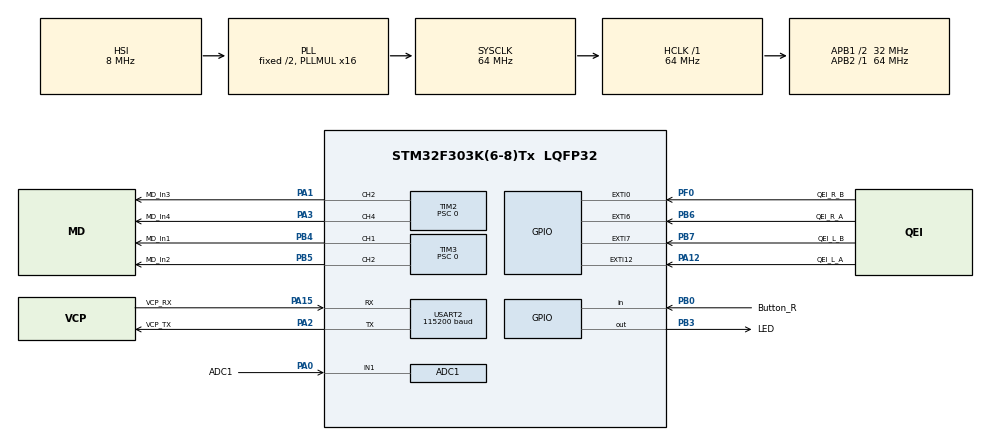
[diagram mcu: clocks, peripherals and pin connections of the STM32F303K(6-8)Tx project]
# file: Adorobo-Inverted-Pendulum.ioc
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ADC1.Channel-0\#ChannelRegularConversion=ADC_CHANNEL_1
ADC1.NbrOfConversionFlag=1
ADC1.Offset-0\#ChannelRegularConversion=0
ADC1.OffsetNumber-0\#ChannelRegularConversion=ADC_OFFSET_NONE
ADC1.Rank-0\#ChannelRegularConversion=1
ADC1.Resolution=ADC_RESOLUTION_12B
ADC1.SamplingTime-0\#ChannelRegularConversion=ADC_SAMPLETIME_61CYCLES_5
ADC1.SamplingTimeOPAMP-0\#ChannelRegularConversion=ADC_SAMPLETIME_61CYCLES_5
ADC1.SubFamily=STM32F303x8
ADC1.master=1
Dma.Request0=USART2_RX
Dma.Request1=USART2_TX
Dma.USART2_RX.0.Direction=DMA_PERIPH_TO_MEMORY
Dma.USART2_RX.0.Instance=DMA1_Channel6
Dma.USART2_RX.0.MemDataAlignment=DMA_MDATAALIGN_BYTE
Dma.USART2_RX.0.MemInc=DMA_MINC_ENABLE
Dma.USART2_RX.0.Mode=DMA_NORMAL
Dma.USART2_RX.0.PeriphDataAlignment=DMA_PDATAALIGN_BYTE
Dma.USART2_RX.0.PeriphInc=DMA_PINC_DISABLE
Dma.USART2_RX.0.Priority=DMA_PRIORITY_LOW
Dma.USART2_TX.1.Direction=DMA_MEMORY_TO_PERIPH
Dma.USART2_TX.1.Instance=DMA1_Channel7
Dma.USART2_TX.1.MemDataAlignment=DMA_MDATAALIGN_BYTE
Dma.USART2_TX.1.MemInc=DMA_MINC_ENABLE
Dma.USART2_TX.1.Mode=DMA_NORMAL
Dma.USART2_TX.1.PeriphDataAlignment=DMA_PDATAALIGN_BYTE
Dma.USART2_TX.1.PeriphInc=DMA_PINC_DISABLE
Dma.USART2_TX.1.Priority=DMA_PRIORITY_LOW
Mcu.Family=STM32F3
Mcu.Name=STM32F303K(6-8)Tx
Mcu.Package=LQFP32
NVIC.DMA1_Channel6_IRQn=true\:0\:0\:false\:false\:true\:false\:true\:true
NVIC.DMA1_Channel7_IRQn=true\:0\:0\:false\:false\:true\:false\:true\:true
NVIC.EXTI0_IRQn=true\:0\:0\:true\:false\:true\:true\:true\:true
NVIC.EXTI15_10_IRQn=true\:0\:0\:true\:false\:true\:true\:true\:true
NVIC.EXTI9_5_IRQn=true\:0\:0\:true\:false\:true\:true\:true\:true
NVIC.PriorityGroup=NVIC_PRIORITYGROUP_4
NVIC.TIM6_DAC1_IRQn=true\:0\:0\:false\:false\:true\:true\:true\:true
NVIC.USART2_IRQn=true\:0\:0\:false\:false\:true\:true\:true\:true
PA0.GPIO_Label=ADC1
PA0.Mode=IN1-Single-Ended
PA0.Signal=ADC1_IN1
PA1.GPIO_Label=MD_In3
PA1.Signal=S_TIM2_CH2
PA12.GPIO_Label=QEI_L_A
PA12.GPIO_ModeDefaultEXTI=GPIO_MODE_IT_RISING_FALLING
PA12.GPIO_PuPd=GPIO_PULLUP
PA12.Signal=GPXTI12
PA13.GPIO_Label=SWDIO
PA13.Mode=Serial_Wire
PA13.Signal=SYS_JTMS-SWDIO
PA14.GPIO_Label=SWCLK
PA14.Mode=Serial_Wire
PA14.Signal=SYS_JTCK-SWCLK
PA15.GPIO_Label=VCP_RX
PA15.Mode=Asynchronous
PA15.Signal=USART2_RX
PA2.GPIO_Label=VCP_TX
PA2.Mode=Asynchronous
PA2.Signal=USART2_TX
PA3.GPIO_Label=MD_In4
PA3.Signal=S_TIM2_CH4
PB0.GPIO_Label=Button_R
PB0.GPIO_PuPd=GPIO_PULLUP
PB0.Signal=GPIO_Input
PB3.GPIO_Label=LED
PB3.Signal=GPIO_Output
PB4.GPIO_Label=MD_In1
PB4.Signal=S_TIM3_CH1
PB5.GPIO_Label=MD_In2
PB5.Signal=S_TIM3_CH2
PB6.GPIO_Label=QEI_R_A
PB6.GPIO_ModeDefaultEXTI=GPIO_MODE_IT_RISING_FALLING
PB6.GPIO_PuPd=GPIO_PULLUP
PB6.Signal=GPXTI6
PB7.GPIO_Label=QEI_L_B
PB7.GPIO_ModeDefaultEXTI=GPIO_MODE_IT_RISING_FALLING
PB7.GPIO_PuPd=GPIO_PULLUP
PB7.Signal=GPXTI7
PF0\ /\ OSC_IN.GPIO_Label=QEI_R_B
PF0\ /\ OSC_IN.GPIO_ModeDefaultEXTI=GPIO_MODE_IT_RISING_FALLING
PF0\ /\ OSC_IN.GPIO_PuPd=GPIO_PULLUP
PF0\ /\ OSC_IN.Signal=GPXTI0
ProjectManager.HeapSize=0x200
ProjectManager.StackSize=0x400
ProjectManager.TargetToolchain=STM32CubeIDE
RCC.AHBFreq_Value=64000000
RCC.APB1CLKDivider=RCC_HCLK_DIV2
RCC.APB1Freq_Value=32000000
RCC.APB1TimFreq_Value=64000000
RCC.APB2Freq_Value=64000000
RCC.APB2TimFreq_Value=64000000
RCC.CortexFreq_Value=64000000
RCC.HCLKFreq_Value=64000000
RCC.HSE_VALUE=8000000
RCC.HSI_VALUE=8000000
RCC.PLLMUL=RCC_PLL_MUL16
RCC.SYSCLKFreq_VALUE=64000000
RCC.SYSCLKSourceVirtual=RCC_SYSCLKSOURCE_PLLCLK
SH.S_TIM2_CH2.0=TIM2_CH2,PWM Generation2 CH2
SH.S_TIM2_CH4.0=TIM2_CH4,PWM Generation4 CH4
SH.S_TIM3_CH1.0=TIM3_CH1,PWM Generation1 CH1
SH.S_TIM3_CH2.0=TIM3_CH2,PWM Generation2 CH2
TIM2.AutoReloadPreload=TIM_AUTORELOAD_PRELOAD_DISABLE
TIM2.Channel-PWM\ Generation2\ CH2=TIM_CHANNEL_2
TIM2.Channel-PWM\ Generation4\ CH4=TIM_CHANNEL_4
TIM2.Period=6399
TIM2.Prescaler=0
TIM3.AutoReloadPreload=TIM_AUTORELOAD_PRELOAD_DISABLE
TIM3.Channel-PWM\ Generation1\ CH1=TIM_CHANNEL_1
TIM3.Channel-PWM\ Generation2\ CH2=TIM_CHANNEL_2
TIM3.Period=6399
TIM3.Prescaler=0
TIM6.Period=63999
TIM6.Prescaler=0
USART2.BaudRate=115200
USART2.VirtualMode-Asynchronous=VM_ASYNC
VP_TIM2_VS_ClockSourceINT.Mode=Internal
VP_TIM3_VS_ClockSourceINT.Mode=Internal
VP_TIM6_VS_ClockSourceINT.Mode=Enable_Timer
board=NUCLEO-F303K8

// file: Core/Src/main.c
/* USER CODE BEGIN Header */
/**
 ******************************************************************************
 * @file           : main.c
 * @brief          : Main program body
 ******************************************************************************
 * @attention
 *
 * Copyright (c) 2025 STMicroelectronics.
 * All rights reserved.
 *
 * This software is licensed under terms that can be found in the LICENSE file
 * in the root directory of this software component.
 * If no LICENSE file comes with this software, it is provided AS-IS.
 *
 ******************************************************************************
 */
/* USER CODE END Header */
#include "main.h"

/* USER CODE BEGIN Includes */
#include <stdio.h>
#include <stdbool.h>

#include "qei.h"
#include "state_feedback_controller.h"
/* USER CODE END Includes */

/* USER CODE BEGIN PM */
#define PI 3.141592

#define PRESCALER (6399 - 1)

#define ADV_TO_RAD 0.00096633 // (333.3 * ((2.0*pi)/360.0)) / 4.85 * 3.3 / (2^12)
#define MAX_V 7.2
//#define GEAR_RATIO 6.67
//#define ENC_PULSE 12
//#define WHEEL_R 0.0255
#define PULSE_TO_METER 0.0005

// PID
#define DT (1.0 / 1000.0)
//#define KP 50
//#define KD 5
//#define KI 10
/* USER CODE END PM */

ADC_HandleTypeDef hadc1;

TIM_HandleTypeDef htim2;
TIM_HandleTypeDef htim3;
TIM_HandleTypeDef htim6;

UART_HandleTypeDef huart2;
DMA_HandleTypeDef hdma_usart2_rx;
DMA_HandleTypeDef hdma_usart2_tx;

/* USER CODE BEGIN PV */
bool start = false;

uint16_t ad;
uint16_t zero_ad;
float theta = 0, theta_pre = 0, dtheta = 0;
float x = 0, x_pre = 0, dx = 0;
float e = 0, ed = 0, ei = 0, e_pre = 0;                                 //振子の角度
float v_ref = 0, duty_ratio = 0;                       //電圧指令値　，　デューティー比

QEI_HandleTypeDef hqei_left, hqei_right;

int enc_left = 0, enc_right = 0;

uint8_t uart_tx[10];
uint8_t uart_rx[8];
//double gain_k[4] = {1.0000, 0.4757, 254.4060, 59.5530};
/* USER CODE END PV */

void SystemClock_Config(void);
static void MX_GPIO_Init(void);
static void MX_DMA_Init(void);
static void MX_USART2_UART_Init(void);
static void MX_TIM2_Init(void);
static void MX_TIM3_Init(void);
static void MX_TIM6_Init(void);
static void MX_ADC1_Init(void);

/* USER CODE BEGIN 0 */
int _write(int file, char *ptr, int len) {
	HAL_UART_Transmit(&huart2, (uint8_t*) ptr, len, 10);
	return len;
}

void MoveRightMotor(const float v) {
	float s = v;
	s = s > 1.0 ? 1.0 : s;
	s = s < -1.0 ? -1.0 : s;

	if (s > 0) {
		__HAL_TIM_SET_COMPARE(&htim3, TIM_CHANNEL_1, 0); // 右側 反転
		__HAL_TIM_SET_COMPARE(&htim3, TIM_CHANNEL_2, s * PRESCALER); // 右側 正転
	} else if (s < 0) {
		__HAL_TIM_SET_COMPARE(&htim3, TIM_CHANNEL_1, - s * PRESCALER); // 右側 反転
		__HAL_TIM_SET_COMPARE(&htim3, TIM_CHANNEL_2, 0); // 右側 正転
	} else {
		__HAL_TIM_SET_COMPARE(&htim3, TIM_CHANNEL_1, 0); // 右側 反転
		__HAL_TIM_SET_COMPARE(&htim3, TIM_CHANNEL_2, 0); // 右側 正転
	}
}

void MoveLeftMotor(const float v) {
	float s = v;
	s = s > 1.0 ? 1.0 : s;
	s = s < -1.0 ? -1.0 : s;

	if (s > 0) {
		__HAL_TIM_SET_COMPARE(&htim2, TIM_CHANNEL_2, s * PRESCALER); // 左側 正転
		__HAL_TIM_SET_COMPARE(&htim2, TIM_CHANNEL_4, 0); // 左側 反転
	} else if (s < 0) {
		__HAL_TIM_SET_COMPARE(&htim2, TIM_CHANNEL_2, 0); // 左側 正転
		__HAL_TIM_SET_COMPARE(&htim2, TIM_CHANNEL_4, - s * PRESCALER); // 左側 反転
	} else {
		__HAL_TIM_SET_COMPARE(&htim2, TIM_CHANNEL_2, 0); // 左側 正転
		__HAL_TIM_SET_COMPARE(&htim2, TIM_CHANNEL_4, 0); // 左側 反転
	}
}

void HAL_GPIO_EXTI_Callback(uint16_t GPIO_Pin) {
	if (GPIO_Pin == QEI_L_A_Pin || GPIO_Pin == QEI_L_B_Pin) {
		QEI_Encode(&hqei_left);
	}
	if (GPIO_Pin == QEI_R_A_Pin || GPIO_Pin == QEI_R_B_Pin) {
		QEI_Encode(&hqei_right);
	}
}

//void HAL_UART_TxCpltCallback(UART_HandleTypeDef *huart) {
//	if (huart->Instance == USART2) {
//		huart2.gState = HAL_UART_STATE_READY;
//	}
//}
//
//void HAL_UART_RxCpltCallback(UART_HandleTypeDef *huart) {
//	if (huart->Instance == USART2) {
//		double rx_data = *((double*) uart_rx);
//		duty_ratio = rx_data;
//		HAL_UART_Receive_DMA(&huart2, uart_rx, 8);
//	}
//}

void HAL_TIM_PeriodElapsedCallback(TIM_HandleTypeDef *htim) {
	if (htim == &htim6) {
		if (start) {
			HAL_ADC_Start(&hadc1);
			if (HAL_ADC_PollForConversion(&hadc1, 10) == HAL_OK) {
				ad = HAL_ADC_GetValue(&hadc1); // 10bit
			}
			HAL_ADC_Stop(&hadc1);

			enc_left += -QEI_GetPulses(&hqei_left);
			QEI_Reset(&hqei_left);
			enc_right += QEI_GetPulses(&hqei_right);
			QEI_Reset(&hqei_right);

			theta = -(float) (ad - zero_ad) * ADV_TO_RAD; // nop version
			dtheta = (theta - theta_pre) / DT;
			theta_pre = theta;

			x = ((float) (enc_left + enc_right) / 2) * PULSE_TO_METER;
			dx = (x - x_pre) / DT;
			x_pre = x;
//			printf("Pos: %f, Theta: %f\n", x, theta);

			real_T arg_y[2] = { x, theta };
			real_T arg_u = state_feedback_controller_step(arg_y);
//			float arg_u = -1.0000*x -40.8844*dx -148.5435*theta -16.9324*dtheta;
			duty_ratio = arg_u / MAX_V;

			duty_ratio = duty_ratio > 0.0 && duty_ratio < 0.6 ? 0.6 : duty_ratio;
			duty_ratio = duty_ratio < 0.0 && duty_ratio > -0.6 ? -0.6 : duty_ratio;

//			printf("%f\n", duty_ratio);

//			if (huart2.gState == HAL_UART_STATE_READY) {
//				float tx_data[2] = { x, theta };
//				uart_tx[0] = 0x90;
//				uart_tx[1] = 0x86;
//				for (int i = 0; i < 8; i++) {
//					uart_tx[i + 2] = ((uint8_t*) (&tx_data))[i];
//				}
//				HAL_UART_Transmit_DMA(&huart2, uart_tx, 10);
//			}

			MoveRightMotor(duty_ratio);
			MoveLeftMotor(duty_ratio);
		}
	}
}
/* USER CODE END 0 */

int main(void)
{

  /* USER CODE BEGIN 1 */
	setbuf(stdout, NULL);
  /* USER CODE END 1 */

  /* MCU Configuration--------------------------------------------------------*/

  /* Reset of all peripherals, Initializes the Flash interface and the Systick. */
  HAL_Init();

  /* Configure the system clock */
  SystemClock_Config();

  /* Initialize all configured peripherals */
  MX_GPIO_Init();
  MX_DMA_Init();
  MX_USART2_UART_Init();
  MX_TIM2_Init();
  MX_TIM3_Init();
  MX_TIM6_Init();
  MX_ADC1_Init();
  /* USER CODE BEGIN 2 */

	HAL_TIM_Base_Start_IT(&htim6);

	QEI_Init(&hqei_left,
	QEI_L_A_GPIO_Port, QEI_L_A_Pin,
	QEI_L_B_GPIO_Port, QEI_L_B_Pin, 48, QEI_X4_ENCODING);
	QEI_Init(&hqei_right,
	QEI_R_A_GPIO_Port, QEI_R_A_Pin,
	QEI_R_B_GPIO_Port, QEI_R_B_Pin, 48, QEI_X4_ENCODING);

	state_feedback_controller_initialize();
	HAL_UART_Receive_DMA(&huart2, uart_rx, 8);
  /* USER CODE END 2 */

  /* Infinite loop */
  /* USER CODE BEGIN WHILE */
	while (1) {
		HAL_GPIO_TogglePin(LED_GPIO_Port, LED_Pin);

		if (!start
				&& HAL_GPIO_ReadPin(Button_R_GPIO_Port, Button_R_Pin)
						== GPIO_PIN_RESET) {
			for (int i = 0; i < 10; i++) {
				HAL_ADC_Start(&hadc1);
				if (HAL_ADC_PollForConversion(&hadc1, 10) == HAL_OK) {
					zero_ad = HAL_ADC_GetValue(&hadc1); // 10bit
				}
				HAL_ADC_Stop(&hadc1);
			}
			start = true;
		}

		HAL_Delay(100);
    /* USER CODE END WHILE */

	}
}

void SystemClock_Config(void)
{
  RCC_OscInitTypeDef RCC_OscInitStruct = {0};
  RCC_ClkInitTypeDef RCC_ClkInitStruct = {0};
  RCC_PeriphCLKInitTypeDef PeriphClkInit = {0};

  /** Initializes the RCC Oscillators according to the specified parameters
  * in the RCC_OscInitTypeDef structure.
  */
  RCC_OscInitStruct.OscillatorType = RCC_OSCILLATORTYPE_HSI;
  RCC_OscInitStruct.HSIState = RCC_HSI_ON;
  RCC_OscInitStruct.HSICalibrationValue = RCC_HSICALIBRATION_DEFAULT;
  RCC_OscInitStruct.PLL.PLLState = RCC_PLL_ON;
  RCC_OscInitStruct.PLL.PLLSource = RCC_PLLSOURCE_HSI;
  RCC_OscInitStruct.PLL.PLLMUL = RCC_PLL_MUL16;
  if (HAL_RCC_OscConfig(&RCC_OscInitStruct) != HAL_OK)
  {
    Error_Handler();
  }

  /** Initializes the CPU, AHB and APB buses clocks
  */
  RCC_ClkInitStruct.ClockType = RCC_CLOCKTYPE_HCLK|RCC_CLOCKTYPE_SYSCLK
                              |RCC_CLOCKTYPE_PCLK1|RCC_CLOCKTYPE_PCLK2;
  RCC_ClkInitStruct.SYSCLKSource = RCC_SYSCLKSOURCE_PLLCLK;
  RCC_ClkInitStruct.AHBCLKDivider = RCC_SYSCLK_DIV1;
  RCC_ClkInitStruct.APB1CLKDivider = RCC_HCLK_DIV2;
  RCC_ClkInitStruct.APB2CLKDivider = RCC_HCLK_DIV1;

  if (HAL_RCC_ClockConfig(&RCC_ClkInitStruct, FLASH_LATENCY_2) != HAL_OK)
  {
    Error_Handler();
  }
  PeriphClkInit.PeriphClockSelection = RCC_PERIPHCLK_ADC12;
  PeriphClkInit.Adc12ClockSelection = RCC_ADC12PLLCLK_DIV1;
  if (HAL_RCCEx_PeriphCLKConfig(&PeriphClkInit) != HAL_OK)
  {
    Error_Handler();
  }
}

static void MX_ADC1_Init(void)
{

  ADC_MultiModeTypeDef multimode = {0};
  ADC_ChannelConfTypeDef sConfig = {0};

  /** Common config
  */
  hadc1.Instance = ADC1;
  hadc1.Init.ClockPrescaler = ADC_CLOCK_ASYNC_DIV1;
  hadc1.Init.Resolution = ADC_RESOLUTION_12B;
  hadc1.Init.ScanConvMode = ADC_SCAN_DISABLE;
  hadc1.Init.ContinuousConvMode = DISABLE;
  hadc1.Init.DiscontinuousConvMode = DISABLE;
  hadc1.Init.ExternalTrigConvEdge = ADC_EXTERNALTRIGCONVEDGE_NONE;
  hadc1.Init.ExternalTrigConv = ADC_SOFTWARE_START;
  hadc1.Init.DataAlign = ADC_DATAALIGN_RIGHT;
  hadc1.Init.NbrOfConversion = 1;
  hadc1.Init.DMAContinuousRequests = DISABLE;
  hadc1.Init.EOCSelection = ADC_EOC_SINGLE_CONV;
  hadc1.Init.LowPowerAutoWait = DISABLE;
  hadc1.Init.Overrun = ADC_OVR_DATA_OVERWRITTEN;
  if (HAL_ADC_Init(&hadc1) != HAL_OK)
  {
    Error_Handler();
  }

  /** Configure the ADC multi-mode
  */
  multimode.Mode = ADC_MODE_INDEPENDENT;
  if (HAL_ADCEx_MultiModeConfigChannel(&hadc1, &multimode) != HAL_OK)
  {
    Error_Handler();
  }

  /** Configure Regular Channel
  */
  sConfig.Channel = ADC_CHANNEL_1;
  sConfig.Rank = ADC_REGULAR_RANK_1;
  sConfig.SingleDiff = ADC_SINGLE_ENDED;
  sConfig.SamplingTime = ADC_SAMPLETIME_61CYCLES_5;
  sConfig.OffsetNumber = ADC_OFFSET_NONE;
  sConfig.Offset = 0;
  if (HAL_ADC_ConfigChannel(&hadc1, &sConfig) != HAL_OK)
  {
    Error_Handler();
  }

}

static void MX_TIM2_Init(void)
{

  TIM_ClockConfigTypeDef sClockSourceConfig = {0};
  TIM_MasterConfigTypeDef sMasterConfig = {0};
  TIM_OC_InitTypeDef sConfigOC = {0};

  htim2.Instance = TIM2;
  htim2.Init.Prescaler = 0;
  htim2.Init.CounterMode = TIM_COUNTERMODE_UP;
  htim2.Init.Period = 6399;
  htim2.Init.ClockDivision = TIM_CLOCKDIVISION_DIV1;
  htim2.Init.AutoReloadPreload = TIM_AUTORELOAD_PRELOAD_DISABLE;
  if (HAL_TIM_Base_Init(&htim2) != HAL_OK)
  {
    Error_Handler();
  }
  sClockSourceConfig.ClockSource = TIM_CLOCKSOURCE_INTERNAL;
  if (HAL_TIM_ConfigClockSource(&htim2, &sClockSourceConfig) != HAL_OK)
  {
    Error_Handler();
  }
  if (HAL_TIM_PWM_Init(&htim2) != HAL_OK)
  {
    Error_Handler();
  }
  sMasterConfig.MasterOutputTrigger = TIM_TRGO_RESET;
  sMasterConfig.MasterSlaveMode = TIM_MASTERSLAVEMODE_DISABLE;
  if (HAL_TIMEx_MasterConfigSynchronization(&htim2, &sMasterConfig) != HAL_OK)
  {
    Error_Handler();
  }
  sConfigOC.OCMode = TIM_OCMODE_PWM1;
  sConfigOC.Pulse = 0;
  sConfigOC.OCPolarity = TIM_OCPOLARITY_HIGH;
  sConfigOC.OCFastMode = TIM_OCFAST_DISABLE;
  if (HAL_TIM_PWM_ConfigChannel(&htim2, &sConfigOC, TIM_CHANNEL_2) != HAL_OK)
  {
    Error_Handler();
  }
  if (HAL_TIM_PWM_ConfigChannel(&htim2, &sConfigOC, TIM_CHANNEL_4) != HAL_OK)
  {
    Error_Handler();
  }
  HAL_TIM_MspPostInit(&htim2);

}

static void MX_TIM3_Init(void)
{

  TIM_ClockConfigTypeDef sClockSourceConfig = {0};
  TIM_MasterConfigTypeDef sMasterConfig = {0};
  TIM_OC_InitTypeDef sConfigOC = {0};

  htim3.Instance = TIM3;
  htim3.Init.Prescaler = 0;
  htim3.Init.CounterMode = TIM_COUNTERMODE_UP;
  htim3.Init.Period = 6399;
  htim3.Init.ClockDivision = TIM_CLOCKDIVISION_DIV1;
  htim3.Init.AutoReloadPreload = TIM_AUTORELOAD_PRELOAD_DISABLE;
  if (HAL_TIM_Base_Init(&htim3) != HAL_OK)
  {
    Error_Handler();
  }
  sClockSourceConfig.ClockSource = TIM_CLOCKSOURCE_INTERNAL;
  if (HAL_TIM_ConfigClockSource(&htim3, &sClockSourceConfig) != HAL_OK)
  {
    Error_Handler();
  }
  if (HAL_TIM_PWM_Init(&htim3) != HAL_OK)
  {
    Error_Handler();
  }
  sMasterConfig.MasterOutputTrigger = TIM_TRGO_RESET;
  sMasterConfig.MasterSlaveMode = TIM_MASTERSLAVEMODE_DISABLE;
  if (HAL_TIMEx_MasterConfigSynchronization(&htim3, &sMasterConfig) != HAL_OK)
  {
    Error_Handler();
  }
  sConfigOC.OCMode = TIM_OCMODE_PWM1;
  sConfigOC.Pulse = 0;
  sConfigOC.OCPolarity = TIM_OCPOLARITY_HIGH;
  sConfigOC.OCFastMode = TIM_OCFAST_DISABLE;
  if (HAL_TIM_PWM_ConfigChannel(&htim3, &sConfigOC, TIM_CHANNEL_1) != HAL_OK)
  {
    Error_Handler();
  }
  if (HAL_TIM_PWM_ConfigChannel(&htim3, &sConfigOC, TIM_CHANNEL_2) != HAL_OK)
  {
    Error_Handler();
  }
  HAL_TIM_MspPostInit(&htim3);

}

static void MX_TIM6_Init(void)
{

  TIM_MasterConfigTypeDef sMasterConfig = {0};

  htim6.Instance = TIM6;
  htim6.Init.Prescaler = 0;
  htim6.Init.CounterMode = TIM_COUNTERMODE_UP;
  htim6.Init.Period = 63999;
  htim6.Init.AutoReloadPreload = TIM_AUTORELOAD_PRELOAD_DISABLE;
  if (HAL_TIM_Base_Init(&htim6) != HAL_OK)
  {
    Error_Handler();
  }
  sMasterConfig.MasterOutputTrigger = TIM_TRGO_RESET;
  sMasterConfig.MasterSlaveMode = TIM_MASTERSLAVEMODE_DISABLE;
  if (HAL_TIMEx_MasterConfigSynchronization(&htim6, &sMasterConfig) != HAL_OK)
  {
    Error_Handler();
  }

}

static void MX_USART2_UART_Init(void)
{

  huart2.Instance = USART2;
  huart2.Init.BaudRate = 115200;
  huart2.Init.WordLength = UART_WORDLENGTH_8B;
  huart2.Init.StopBits = UART_STOPBITS_1;
  huart2.Init.Parity = UART_PARITY_NONE;
  huart2.Init.Mode = UART_MODE_TX_RX;
  huart2.Init.HwFlowCtl = UART_HWCONTROL_NONE;
  huart2.Init.OverSampling = UART_OVERSAMPLING_16;
  huart2.Init.OneBitSampling = UART_ONE_BIT_SAMPLE_DISABLE;
  huart2.AdvancedInit.AdvFeatureInit = UART_ADVFEATURE_NO_INIT;
  if (HAL_UART_Init(&huart2) != HAL_OK)
  {
    Error_Handler();
  }

}

static void MX_DMA_Init(void)
{

  /* DMA controller clock enable */
  __HAL_RCC_DMA1_CLK_ENABLE();

  /* DMA interrupt init */
  /* DMA1_Channel6_IRQn interrupt configuration */
  HAL_NVIC_SetPriority(DMA1_Channel6_IRQn, 0, 0);
  HAL_NVIC_EnableIRQ(DMA1_Channel6_IRQn);
  /* DMA1_Channel7_IRQn interrupt configuration */
  HAL_NVIC_SetPriority(DMA1_Channel7_IRQn, 0, 0);
  HAL_NVIC_EnableIRQ(DMA1_Channel7_IRQn);

}

static void MX_GPIO_Init(void)
{
  GPIO_InitTypeDef GPIO_InitStruct = {0};

  /* GPIO Ports Clock Enable */
  __HAL_RCC_GPIOF_CLK_ENABLE();
  __HAL_RCC_GPIOA_CLK_ENABLE();
  __HAL_RCC_GPIOB_CLK_ENABLE();

  /*Configure GPIO pin Output Level */
  HAL_GPIO_WritePin(LED_GPIO_Port, LED_Pin, GPIO_PIN_RESET);

  /*Configure GPIO pin : QEI_R_B_Pin */
  GPIO_InitStruct.Pin = QEI_R_B_Pin;
  GPIO_InitStruct.Mode = GPIO_MODE_IT_RISING_FALLING;
  GPIO_InitStruct.Pull = GPIO_PULLUP;
  HAL_GPIO_Init(QEI_R_B_GPIO_Port, &GPIO_InitStruct);

  /*Configure GPIO pin : Button_R_Pin */
  GPIO_InitStruct.Pin = Button_R_Pin;
  GPIO_InitStruct.Mode = GPIO_MODE_INPUT;
  GPIO_InitStruct.Pull = GPIO_PULLUP;
  HAL_GPIO_Init(Button_R_GPIO_Port, &GPIO_InitStruct);

  /*Configure GPIO pin : QEI_L_A_Pin */
  GPIO_InitStruct.Pin = QEI_L_A_Pin;
  GPIO_InitStruct.Mode = GPIO_MODE_IT_RISING_FALLING;
  GPIO_InitStruct.Pull = GPIO_PULLUP;
  HAL_GPIO_Init(QEI_L_A_GPIO_Port, &GPIO_InitStruct);

  /*Configure GPIO pin : LED_Pin */
  GPIO_InitStruct.Pin = LED_Pin;
  GPIO_InitStruct.Mode = GPIO_MODE_OUTPUT_PP;
  GPIO_InitStruct.Pull = GPIO_NOPULL;
  GPIO_InitStruct.Speed = GPIO_SPEED_FREQ_LOW;
  HAL_GPIO_Init(LED_GPIO_Port, &GPIO_InitStruct);

  /*Configure GPIO pins : QEI_R_A_Pin QEI_L_B_Pin */
  GPIO_InitStruct.Pin = QEI_R_A_Pin|QEI_L_B_Pin;
  GPIO_InitStruct.Mode = GPIO_MODE_IT_RISING_FALLING;
  GPIO_InitStruct.Pull = GPIO_PULLUP;
  HAL_GPIO_Init(GPIOB, &GPIO_InitStruct);

  /* EXTI interrupt init*/
  HAL_NVIC_SetPriority(EXTI0_IRQn, 0, 0);
  HAL_NVIC_EnableIRQ(EXTI0_IRQn);

  HAL_NVIC_SetPriority(EXTI9_5_IRQn, 0, 0);
  HAL_NVIC_EnableIRQ(EXTI9_5_IRQn);

  HAL_NVIC_SetPriority(EXTI15_10_IRQn, 0, 0);
  HAL_NVIC_EnableIRQ(EXTI15_10_IRQn);

}

void Error_Handler(void)
{
	__disable_irq();
	while (1) {
	}
}
